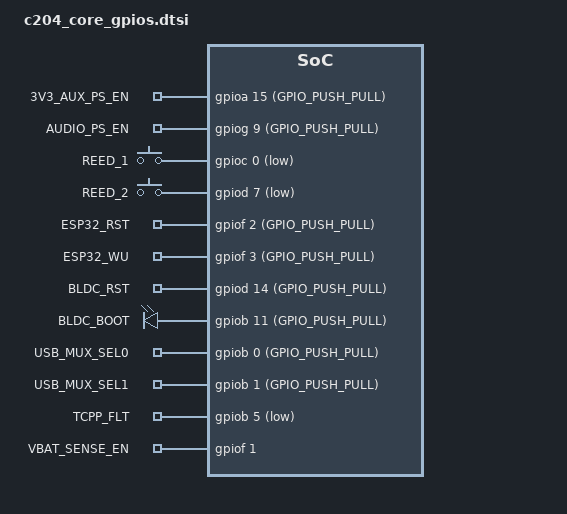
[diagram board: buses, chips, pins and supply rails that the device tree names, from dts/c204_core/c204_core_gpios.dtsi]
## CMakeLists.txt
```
# Copyright (c) 2023 Acme CPU

# Add our modules directory to Zephyr Modules
list(APPEND ZEPHYR_EXTRA_MODULES ${CMAKE_CURRENT_SOURCE_DIR}/modules)

cmake_minimum_required(VERSION 3.20.1)

set(PROJ_ROOT ${CMAKE_CURRENT_SOURCE_DIR}/)
set(DTS_ROOT ${CMAKE_CURRENT_SOURCE_DIR}/dts)

set(BOARD_ROOT ${CMAKE_CURRENT_LIST_DIR})

find_package(Zephyr HINTS $ENV{ZEPHYR_BASE})
project(stm32_flasher)

add_subdirectory(src)
```

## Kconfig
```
# Copyright (c) 2019-2020 Nordic Semiconductor ASA
# SPDX-License-Identifier: Apache-2.0

config APP_WIPE_STORAGE
	bool "Option to clear the flash area before mounting"
	help
	  Use this to force an existing file system to be created.

choice
	prompt "Storage and file system type used by the application"
	default APP_MSC_STORAGE_NONE
	help
	  Specify the type of storage and file system.

config APP_MSC_STORAGE_NONE
	bool "Use RAM disk as block device"

config APP_MSC_STORAGE_RAM
	bool "Use RAM disk and FAT file system"
	imply FILE_SYSTEM
	imply FAT_FILESYSTEM_ELM

config APP_MSC_STORAGE_FLASH_FATFS
	bool "Use FLASH disk and FAT file system"
	imply DISK_DRIVER_FLASH
	imply FILE_SYSTEM
	imply FAT_FILESYSTEM_ELM

config APP_MSC_STORAGE_FLASH_LITTLEFS
	bool "Use FLASH disk and LittleFS"
	imply DISK_DRIVER_FLASH
	imply FILE_SYSTEM
	imply FILE_SYSTEM_LITTLEFS

config APP_MSC_STORAGE_SDCARD
	bool "Use SDHC and FAT file system"
	imply DISK_DRIVER_SDMMC
	imply FILE_SYSTEM
	imply FAT_FILESYSTEM_ELM

endchoice

config MASS_STORAGE_DISK_NAME
	default "NAND" if DISK_DRIVER_FLASH
	default "RAM" if DISK_DRIVER_RAM
	default "SD" if DISK_DRIVER_SDMMC

if DISK_DRIVER_FLASH

config FLASH_MAP
	default y

config FLASH_PAGE_LAYOUT
	default y

config FLASH_LOG_LEVEL
	default 3

if NORDIC_QSPI_NOR

config NORDIC_QSPI_NOR_FLASH_LAYOUT_PAGE_SIZE
	default 4096

endif # NORDIC_QSPI_NOR

endif # DISK_DRIVER_FLASH




rsource "src/Kconfig"
source "Kconfig.zephyr"
```

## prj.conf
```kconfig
#-------------------------------------------------------------- Zephyr specific configs
CONFIG_REBOOT=y

#-------------------------------------------------------------- Main thread
CONFIG_MAIN_STACK_SIZE=1536
CONFIG_HEAP_MEM_POOL_SIZE=8192
#CONFIG_THREAD_NAME=y

#-------------------------------------------------------------- USB related configs
CONFIG_USB_DEVICE_STACK=y
CONFIG_USB_DEVICE_PRODUCT="Zephyr MSC sample"
CONFIG_USB_DEVICE_PID=0x0008
CONFIG_LOG=y
CONFIG_USB_DRIVER_LOG_LEVEL_ERR=y
CONFIG_USB_MASS_STORAGE=y
CONFIG_USB_DEVICE_LOG_LEVEL_ERR=y
CONFIG_USB_MASS_STORAGE_LOG_LEVEL_ERR=y
CONFIG_USB_DEVICE_INITIALIZE_AT_BOOT=n
CONFIG_MASS_STORAGE_STACK_SIZE=4096

#-------------------------------------------------------------- Shell
CONFIG_SHELL=y
CONFIG_SHELL_BACKEND_SERIAL=y
CONFIG_SHELL_LOG_BACKEND=n
CONFIG_LOG_BACKEND_UART=y
CONFIG_SHELL_STACK_SIZE=4096

#-------------------------------------------------------------- FS extra
CONFIG_FS_FATFS_LFN=y

#-------------------------------------------------------------- Application configs
CONFIG_APP_STORAGE=y
CONFIG_APP_UART=y
CONFIG_LIB_STM32BL_HOST=y
CONFIG_APP_WIPE_STORAGE=y

#-------------------------------------------------------------- IO channels (ADC and DAC)
CONFIG_ADC=y
CONFIG_ADC_SHELL=n
CONFIG_DAC=y
CONFIG_DAC_SHELL=n
CONFIG_DAC_STM32=y

#-------------------------------------------------------------- GPIO based devices
CONFIG_TPS55340=y
```

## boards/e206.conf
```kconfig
#CONFIG_APP_WIPE_STORAGE=y

#CONFIG_DISK_DRIVER_FLASH=y
#CONFIG_FILE_SYSTEM=y
#CONFIG_FAT_FILESYSTEM_ELM=y

#CONFIG_MASS_STORAGE_DISK_NAME="NAND"

#CONFIG_FLASH_MAP=y
#CONFIG_FLASH_PAGE_LAYOUT=y
#CONFIG_FLASH_LOG_LEVEL=3

CONFIG_APP_MSC_STORAGE_FLASH_FATFS=y

CONFIG_FILE_SYSTEM_SHELL=y
```

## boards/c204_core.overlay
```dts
/*
 * Copyright (c) 2021 Acme CPU
 *
 */

/ {
	msc_disk0 {
		compatible = "zephyr,flash-disk";
		partition = <&data_partition>;
		disk-name = "NAND";
		cache-size = <4096>;
	};
};

/ {
	chosen {
		zephyr,shell-uart = &cdc_acm_uart0;
		/*zephyr,console = &cdc_acm_uart0;*/
		/*zephyr,flash-controller = &mt29f2g01abagdwb;*/
		/*zephyr,display = &ssd1306_ssd1306_128x64_spi;*/
	};
	aliases {
		stm32-dev = &usart3;
	};
};

/ {
	zephyr,user {
		dac = <&dac1>;
		dac-channel-id = <1>;
		dac-resolution = <12>;
		
		io-channels = <&adc1 7>, <&adc1 8>, <&adc1 10>;
	};
};

&zephyr_udc0 {
	cdc_acm_uart0: cdc_acm_uart0 {
		compatible = "zephyr,cdc-acm-uart";
		label = "CDC_ACM_0";
	};
};
```

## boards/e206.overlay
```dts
/*
 * Copyright (c) 2023 Acme CPU
 *
 */

/ {
	msc_disk0 {
		compatible = "zephyr,flash-disk";
		partition = <&data_partition>;
		disk-name = "NAND";
		cache-size = <4096>;
	};
};

 / {
	chosen {
		zephyr,shell-uart = &cdc_acm_uart0;
		/*zephyr,console = &cdc_acm_uart0;*/
		/*zephyr,flash-controller = &mt29f2g01abagdwb;*/
		/*zephyr,display = &st7789v_st7789v_320x240_spi;*/
	};
	aliases {
		stm32-dev = &usart6;
	};
};

/ {
	zephyr,user {
		dac = <&dac1>;
		dac-channel-id = <1>;
		dac-resolution = <12>;
		
		io-channels = <&adc1 3>, <&adc1 7>, <&adc1 8>, <&adc1 14>, <&adc1 19>, <&adc3 2>;
	};
};

&zephyr_udc0 {
	cdc_acm_uart0: cdc_acm_uart0 {
		compatible = "zephyr,cdc-acm-uart";
		label = "CDC_ACM_0";
	};
};
```

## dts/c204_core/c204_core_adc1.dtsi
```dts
/*
 * Copyright (c) 2022 Acme CPU
 *
 */


/*&adc1 {
    status = "okay";
    pinctrl-0 = <&adc1_in7_pc1 &adc1_in8_pc2 &adc1_in10_pf0>;
    pinctrl-names = "default";
};*/

&adc1 {
    status = "okay";
    st,adc-clock-source = <SYNC>;
    st,adc-prescaler = <4>;
    pinctrl-0 = <&adc1_in7_pc1 &adc1_in8_pc2 &adc1_in10_pf0>;
    pinctrl-names = "default";

	#address-cells = <1>;
	#size-cells = <0>;
	
	vbus: channel@7 {
		reg = <7>;
		zephyr,gain = "ADC_GAIN_1";
		zephyr,reference = "ADC_REF_INTERNAL";
		zephyr,acquisition-time = <ADC_ACQ_TIME_DEFAULT>;
		zephyr,resolution = <12>;
		zephyr,vref-mv = <3300>;
	};

	vfan: channel@8 {
		reg = <8>;
		zephyr,gain = "ADC_GAIN_1";
		zephyr,reference = "ADC_REF_INTERNAL";
		zephyr,acquisition-time = <ADC_ACQ_TIME_DEFAULT>;
		zephyr,resolution = <12>;
	};
	
	vbatt: channel@10 {
		reg = <10>;
		zephyr,gain = "ADC_GAIN_1";
		zephyr,reference = "ADC_REF_INTERNAL";
		zephyr,acquisition-time = <ADC_ACQ_TIME_DEFAULT>;
		zephyr,resolution = <12>;
	};
};
```

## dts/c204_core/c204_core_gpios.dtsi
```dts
/*
 * Copyright (c) 2022 Acme CPU
 * 
 * GPIO device list
 * 	- keypad
 * 	- load switch enable (may consier to remove dedicated tps22810 driver)
 *  - audio ps enable
 * 	- reed switches
 * 	- network processor (esp32) reset and wakeup
 *  - bldc driver reset and boot
 *  - tcpp fault
 *  - usb mux
 */

&c204 {
	aux_enable {
		compatible = "gpio-keys";
		
	    aux_ps_en: aux_ps_en {
	      gpios = <&gpioa 15 (GPIO_PUSH_PULL)>;
	      label = "3V3_AUX_PS_EN";
	    };
	    
	    audio_ps_en: audio_ps_en {
	      gpios = <&gpiog 9 (GPIO_PUSH_PULL)>;
	      label = "AUDIO_PS_EN";
	    };
	};
	
	reed_switches {
		compatible = "gpio-keys";

	    reed_switch_1 {
	      gpios = <&gpioc 0 (GPIO_PULL_UP | GPIO_ACTIVE_LOW)>;
	      label = "REED_1";
	    };
	    
	    reed_switch_2 {
	      gpios = <&gpiod 7 (GPIO_PULL_UP | GPIO_ACTIVE_LOW)>;
	      label = "REED_2";
	    };
	};
	
	net_proc_gpios {
		compatible = "gpio-keys";
		
	    wifibt_rst: wifibt_rst {
	      gpios = <&gpiof 2 (GPIO_PUSH_PULL)>;
	      label = "ESP32_RST";
	    };
	    
	    wifibt_wake: wifibt_wake {
	      gpios = <&gpiof 3 (GPIO_PUSH_PULL)>;
	      label = "ESP32_WU";
	    };
	};
	
	bldc_drv_gpios {
		compatible = "gpio-leds";
		
	    bldc_rst: bldc_rst {
	      gpios = <&gpiod 14 (GPIO_PUSH_PULL)>;
	      label = "BLDC_RST";
	    };
	    
	    bldc_boot: bldc_boot {
	      gpios = <&gpiob 11 (GPIO_PUSH_PULL)>;
	      label = "BLDC_BOOT";
	    };
	};
	
	usb_mux_gpios {
		compatible = "gpio-keys";

	    usb_mux_sel0: usb_mux_sel0 {
	      gpios = <&gpiob 0 (GPIO_PUSH_PULL)>;
	      label = "USB_MUX_SEL0";
	    };

	    usb_mux_sel1: usb_mux_sel1 {
	      gpios = <&gpiob 1 (GPIO_PUSH_PULL)>;
	      label = "USB_MUX_SEL1";
	    };
	};

	other_gpios {
		compatible = "gpio-keys";

	    tcpp_flt {
	      gpios = <&gpiob 5 (GPIO_PULL_UP | GPIO_ACTIVE_LOW)>;
	      label = "TCPP_FLT";
	    };
	    
	    vbat_sense_en: vbat_sense_en {
	      gpios = <&gpiof 1 GPIO_ACTIVE_HIGH>;
	      label = "VBAT_SENSE_EN";
	    };
	};
};
```

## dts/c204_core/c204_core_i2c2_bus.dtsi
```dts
/*
 * Copyright (c) 2022 Acme CPU
 *
 * C204 I2C2 bus has
 *		- S201 PCB (2 x bmp388)
 *		- eeprom 24aa00t 
 */


&i2c2 {
	status = "okay";
	pinctrl-0 = <&i2c2_scl_pf6 &i2c2_sda_pa8>;
	pinctrl-names = "default";
	clock-frequency = <I2C_BITRATE_FAST>;
/*
  compatible = "st,stm32-i2c-dma-v2";
  dmas = <&dma1 0 0 0x0 0x0>,
	 <&dma1 0 0 0x0 0x0>;
  dma-names = "tx","rx";
  dma-label-tx = "DMA_TX_I2C_3";
  dma-label-rx = "DMA_RX_I2C_3";
*/

	p121_ps: bmp388@76 {
		compatible = "bosch,bmp388";
    	reg = <0x76>;
    	label = "PS_INT_POS";
    	odr = "25";			/* data rate = 25Hz */
    	osr-press = <1>;	/* pressure oversampling = No */
    	osr-temp = <1>;		/* temperature oversampling = No */
    	iir-filter = <0>;	/* iir filter = default val */
	};

	p122_ps: bmp388@77 {
    	compatible = "bosch,bmp388";
    	reg = <0x77>;
    	label = "PS_INT_NEG";
    	odr = "25";			/* data rate = 25Hz */
    	osr-press = <1>;	/* pressure oversampling = No */
    	osr-temp = <1>;		/* temperature oversampling = No */
    	iir-filter = <0>;	/* iir filter = default val */
	};

	p105_eeprom: 24aa00t@50 {
		compatible = "atmel,at24";
		reg = <0x50>;
		label = "EEPROM";
		size = <16>;
		pagesize = <1>;
		address-width = <8>;
		timeout = <10>;
	};
};
```

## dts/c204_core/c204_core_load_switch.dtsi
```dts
/*
 * Copyright (c) 2022 Acme CPU
 */

&c204 {
	tps22810 {
		compatible = "ti,tps22810";
		label = "AUX_3V3_SWITCH";
		status = "okay";

		/*enable-gpios = <&io_2 15 (GPIO_OUTPUT_INACTIVE | GPIO_PUSH_PULL)>;*/
		enable-gpios = <&gpioa 15 (GPIO_PUSH_PULL)>;
		audio-gpios = <&gpiog 9 (GPIO_PUSH_PULL)>;
	};
};
```

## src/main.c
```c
/*
 * Copyright (c) 2023 Acme CPU
 *
 * Author: Rohan Dey (rohan@acmecpu.com)
 */
#include <zephyr/kernel.h>
#include <zephyr/device.h>
#include <zephyr/sys/printk.h>
#include <zephyr/sys/__assert.h>
#include <stdio.h>
#include <stdlib.h>

#include <zephyr/logging/log.h>
LOG_MODULE_REGISTER(main);

#if CONFIG_USB_DEVICE_STACK
#include <zephyr/usb/usb_device.h>
#endif

#if (CONFIG_APP_STORAGE)
#include "app_storage/app_storage.h"
#endif

#if (CONFIG_APP_UART)
#include "app_uart/app_uart.h"
#endif

#include "lib_stm32bl_host/lib_stm32bl_host.h"

static void main_print_message() {
	printk("*** Starting C20x application ***\n\n");
}

int main(void)
{
	main_print_message();

	int ret = 0;

	ret = app_storage_mount();

#if CONFIG_USB_DEVICE_STACK
	if (usb_enable(NULL)) {
		return -1;
	}
#endif
	LOG_INF("The device is put in USB mass storage mode.\n");
#if 1
	/* initialize the uart interface */
	ret = app_uart_init();
	if (ret != 0) {
		LOG_ERR("app_uart_init failed");
		return -1;
	}

	/* initialize the bootloader host library */
	struct lib_stm32bl_host_funcs funcs;
	funcs.ms_delay = app_uart_ms_delay;
	funcs.usart_close = app_uart_close;
	funcs.usart_open = app_uart_open;
	funcs.usart_recv = app_uart_read_bytes;
	funcs.usart_send = app_uart_write_bytes;

	lib_stm32bl_host_init(&funcs);

	while (1) {
		k_sleep(K_MSEC(500));
//		app_storage_file_copy_complete();
	}
#endif
	return 0;
}
```
